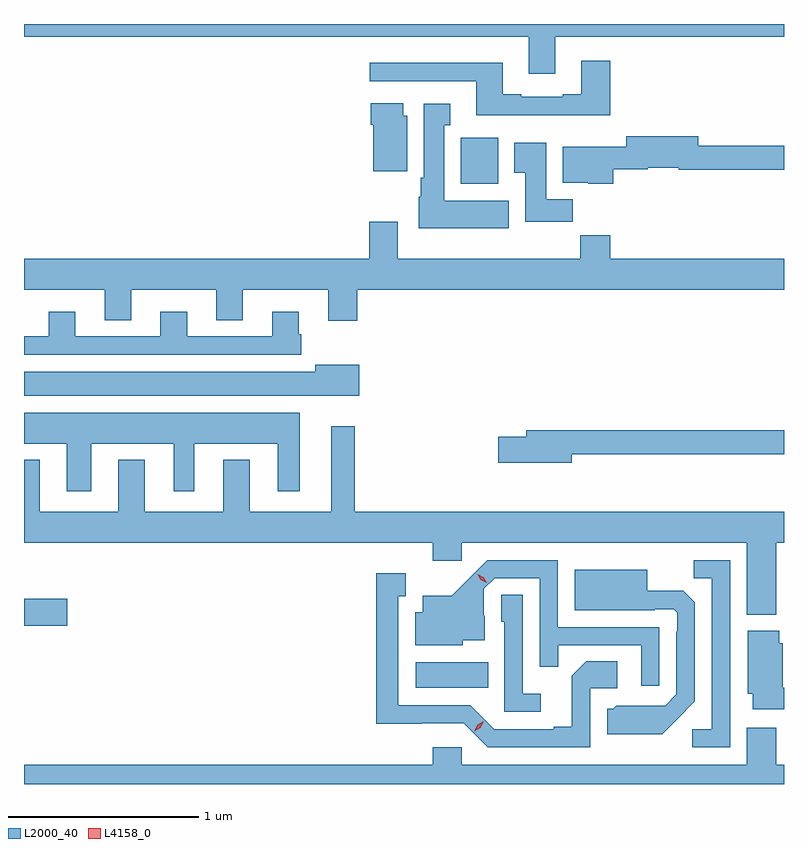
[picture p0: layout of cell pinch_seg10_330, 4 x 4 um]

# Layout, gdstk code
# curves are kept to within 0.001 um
import gdstk
lib = gdstk.Library(unit=1e-6, precision=1e-09)
def R(c, l, rs):  # rectangles x0, y0, x1, y1
    for r in rs: c.add(gdstk.rectangle(r[:2], r[2:], *l))
def P(c, l, *ps):  # polygons
    for p in ps: c.add(gdstk.Polygon(p, *l))
L2000_40 = (2000, 40)
L4158_0 = (4158, 0)

pinch_seg10_330 = lib.new_cell('pinch_seg10_330')
R(pinch_seg10_330, L2000_40, [(411.102,1270.25,411.482,1270.384), (409.039,1270.577,409.267,1270.719), (411.338,1272.902,411.535,1273.144)])
P(pinch_seg10_330, L2000_40, [(411.835,1273.676),(413.039,1273.676),(413.039,1273.743),(409.039,1273.743),(409.039,1273.676),(411.695,1273.676),(411.695,1273.482),(411.835,1273.482)],
  [(412.124,1273.549),(411.971,1273.549),(411.971,1273.372),(411.875,1273.372),(411.875,1273.359),(411.655,1273.359),(411.655,1273.372),(411.559,1273.372),(411.559,1273.54),(410.859,1273.54),(410.859,1273.443),(411.419,1273.443),(411.419,1273.262),(412.124,1273.262)],
  [(411.055,1273.26),(411.034,1273.26),(411.034,1273.327),(410.864,1273.327),(410.864,1273.214),(410.876,1273.214),(410.876,1272.968),(411.055,1272.968)],
  [(411.589,1272.814),(411.25,1272.814),(411.25,1273.211),(411.283,1273.211),(411.283,1273.324),(411.143,1273.324),(411.143,1272.934),(411.128,1272.934),(411.128,1272.834),(411.116,1272.834),(411.116,1272.668),(411.589,1272.668)],
  [(412.139,1272.979),(412.322,1272.979),(412.322,1272.986),(412.484,1272.986),(412.484,1272.975),(413.039,1272.975),(413.039,1273.103),(412.588,1273.103),(412.588,1273.153),(412.208,1273.153),(412.208,1273.096),(411.875,1273.096),(411.875,1272.908),(412.008,1272.908),(412.008,1272.902),(412.139,1272.902)],
  [(411.926,1272.82),(411.787,1272.82),(411.787,1273.117),(411.62,1273.117),(411.62,1272.961),(411.677,1272.961),(411.677,1272.702),(411.926,1272.702)],
  [(411.967,1272.632),(411.967,1272.508),(411.007,1272.508),(411.007,1272.703),(410.855,1272.703),(410.855,1272.508),(409.039,1272.508),(409.039,1272.344),(409.463,1272.344),(409.463,1272.184),(409.603,1272.184),(409.603,1272.344),(410.051,1272.344),(410.051,1272.184),(410.191,1272.184),(410.191,1272.344),(410.639,1272.344),(410.639,1272.18),(410.792,1272.18),(410.792,1272.344),(413.039,1272.344),(413.039,1272.508),(412.124,1272.508),(412.124,1272.632)],
  [(410.498,1272.111),(410.485,1272.111),(410.485,1272.229),(410.345,1272.229),(410.345,1272.099),(409.897,1272.099),(409.897,1272.229),(409.757,1272.229),(409.757,1272.099),(409.309,1272.099),(409.309,1272.229),(409.169,1272.229),(409.169,1272.099),(409.039,1272.099),(409.039,1272.003),(410.498,1272.003)],
  [(410.803,1271.95),(410.573,1271.95),(410.573,1271.914),(409.039,1271.914),(409.039,1271.786),(410.803,1271.786)],
  [(409.393,1271.534),(409.826,1271.534),(409.826,1271.283),(409.936,1271.283),(409.936,1271.534),(410.375,1271.534),(410.375,1271.283),(410.491,1271.283),(410.491,1271.698),(409.039,1271.698),(409.039,1271.534),(409.265,1271.534),(409.265,1271.283),(409.393,1271.283)],
  [(412.997,1271.012),(413.039,1271.012),(413.039,1271.176),(410.779,1271.176),(410.779,1271.626),(410.657,1271.626),(410.657,1271.176),(410.227,1271.176),(410.227,1271.449),(410.087,1271.449),(410.087,1271.176),(409.675,1271.176),(409.675,1271.449),(409.535,1271.449),(409.535,1271.176),(409.123,1271.176),(409.123,1271.449),(409.039,1271.449),(409.039,1271.012),(411.191,1271.012),(411.191,1270.917),(411.342,1270.917),(411.342,1271.012),(412.844,1271.012),(412.844,1270.634),(412.997,1270.634)],
  [(411.922,1271.478),(413.039,1271.478),(413.039,1271.606),(411.683,1271.606),(411.683,1271.57),(411.534,1271.57),(411.534,1271.435),(411.922,1271.435)],
  [(412.755,1270.92),(412.564,1270.92),(412.564,1270.825),(412.659,1270.825),(412.659,1270.032),(412.557,1270.032),(412.557,1269.936),(412.755,1269.936)],
  [(412.383,1270.569),(411.849,1270.569),(411.849,1270.92),(411.476,1270.92),(411.289,1270.735),(411.137,1270.735),(411.137,1270.648),(411.098,1270.648),(411.098,1270.472),(411.348,1270.472),(411.348,1270.499),(411.463,1270.499),(411.463,1270.628),(411.459,1270.628),(411.459,1270.77),(411.516,1270.827),(411.753,1270.827),(411.753,1270.36),(411.851,1270.36),(411.851,1270.473),(412.287,1270.473),(412.287,1270.26),(412.383,1270.26)],
  [(412.477,1270.085),(412.569,1270.178),(412.569,1270.7),(412.51,1270.759),(412.318,1270.759),(412.318,1270.87),(411.938,1270.87),(411.938,1270.658),(412.358,1270.658),(412.358,1270.662),(412.458,1270.662),(412.476,1270.644),(412.476,1270.544),(412.473,1270.544),(412.473,1270.215),(412.413,1270.155),(412.156,1270.156),(412.14,1270.14),(412.109,1270.14),(412.109,1270.004),(412.397,1270.004)],
  [(412.02,1270.248),(412.162,1270.248),(412.162,1270.388),(411.997,1270.388),(411.921,1270.312),(411.921,1270.045),(411.827,1270.045),(411.827,1270.032),(411.513,1270.032),(411.387,1270.158),(411.01,1270.158),(411.01,1270.731),(411.049,1270.731),(411.049,1270.852),(410.892,1270.852),(410.892,1270.061),(411.354,1270.062),(411.48,1269.936),(412.02,1269.936)],
  [(411.76,1270.219),(411.663,1270.219),(411.663,1270.739),(411.552,1270.739),(411.552,1270.596),(411.567,1270.596),(411.567,1270.122),(411.76,1270.122)],
  [(413.039,1270.249),(413.032,1270.249),(413.032,1270.485),(413.014,1270.485),(413.014,1270.549),(412.847,1270.549),(412.847,1270.218),(412.874,1270.218),(412.874,1270.137),(413.039,1270.137)],
  [(413.039,1269.844),(412.997,1269.844),(412.997,1270.039),(412.844,1270.039),(412.844,1269.844),(411.342,1269.844),(411.342,1269.937),(411.191,1269.937),(411.191,1269.844),(409.039,1269.844),(409.039,1269.743),(413.039,1269.743)])
P(pinch_seg10_330, L4158_0, [(411.475,1270.802),(411.444,1270.817),(411.426,1270.846),(411.426,1270.847),(411.426,1270.847),(411.457,1270.832),(411.475,1270.802),(411.475,1270.802)],
  [(411.41,1270.021),(411.41,1270.021),(411.427,1270.054),(411.458,1270.073),(411.459,1270.073),(411.459,1270.073),(411.441,1270.04),(411.41,1270.021)])

lib.write_gds('pinch_seg10_330.gds')
